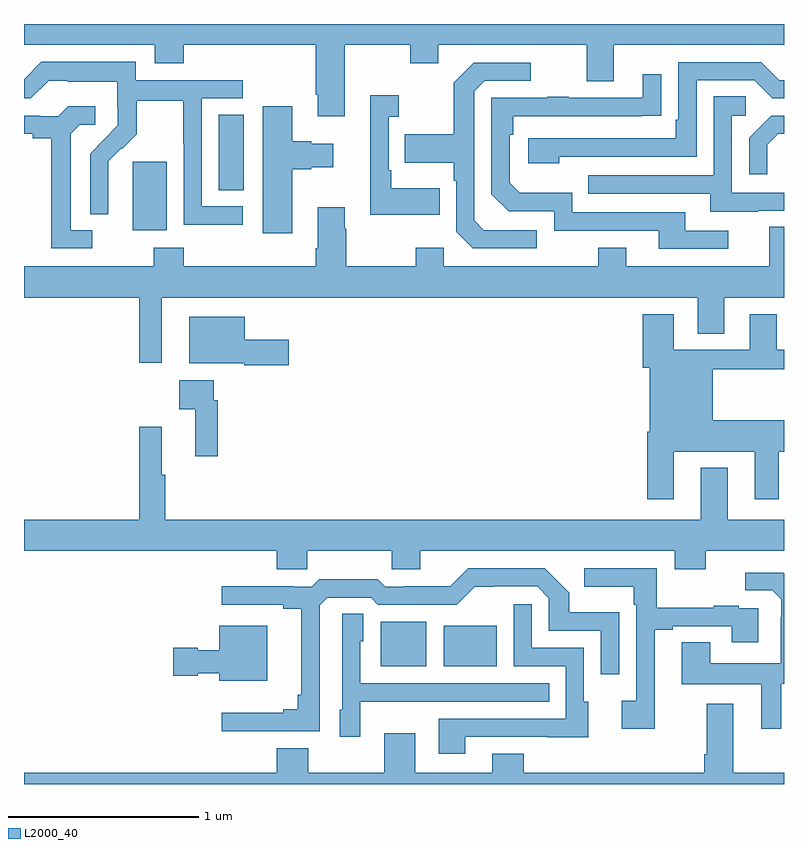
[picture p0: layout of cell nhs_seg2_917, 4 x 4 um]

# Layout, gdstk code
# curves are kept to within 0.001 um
import gdstk
lib = gdstk.Library(unit=1e-6, precision=1e-09)
def R(c, l, rs):  # rectangles x0, y0, x1, y1
    for r in rs: c.add(gdstk.rectangle(r[:2], r[2:], *l))
def P(c, l, *ps):  # polygons
    for p in ps: c.add(gdstk.Polygon(p, *l))
L2000_40 = (2000, 40)

nhs_seg2_917 = lib.new_cell('nhs_seg2_917')
R(nhs_seg2_917, L2000_40, [(160.877,588.419,161.116,588.655), (161.21,588.419,161.488,588.634), (159.572,590.714,159.751,591.075), (160.025,590.926,160.156,591.323)])
P(nhs_seg2_917, L2000_40, [(160.687,591.692),(161.032,591.692),(161.032,591.593),(161.179,591.593),(161.179,591.692),(161.963,591.692),(161.963,591.498),(162.103,591.498),(162.103,591.692),(163,591.692),(163,591.8),(159,591.8),(159,591.692),(159.689,591.692),(159.689,591.593),(159.842,591.593),(159.842,591.692),(160.535,591.692),(160.535,591.427),(160.547,591.427),(160.547,591.315),(160.687,591.315)],
  [(160.15,590.841),(159.936,590.841),(159.936,591.408),(160.15,591.408),(160.15,591.504),(159.588,591.504),(159.588,591.601),(159.091,591.601),(159,591.51),(159,591.408),(159.036,591.408),(159.129,591.501),(159.229,591.501),(159.229,591.497),(159.492,591.497),(159.492,591.363),(159.494,591.363),(159.494,591.266),(159.348,591.118),(159.348,590.8),(159.444,590.8),(159.443,591.077),(159.513,591.147),(159.516,591.144),(159.593,591.221),(159.593,591.396),(159.838,591.396),(159.838,591.172),(159.84,591.172),(159.84,590.743),(160.15,590.743)],
  [(161.816,591.102),(162.54,591.102),(162.54,591.504),(162.843,591.504),(162.939,591.408),(163,591.408),(163,591.504),(162.975,591.504),(162.879,591.6),(162.444,591.6),(162.444,591.295),(162.431,591.295),(162.431,591.198),(161.655,591.198),(161.655,591.068),(161.816,591.068)],
  [(161.698,590.715),(161.421,590.715),(161.37,590.766),(161.37,591.447),(161.424,591.501),(161.668,591.501),(161.668,591.597),(161.367,591.597),(161.262,591.491),(161.262,591.219),(161.005,591.219),(161.005,591.071),(161.262,591.071),(161.262,590.975),(161.274,590.975),(161.274,590.706),(161.361,590.619),(161.698,590.619)],
  [(162.706,590.712),(162.481,590.712),(162.481,590.808),(161.886,590.808),(161.886,590.911),(161.609,590.911),(161.556,590.964),(161.556,591.218),(161.576,591.218),(161.576,591.315),(162.353,591.316),(162.353,591.535),(162.257,591.535),(162.257,591.411),(161.867,591.411),(161.867,591.416),(161.755,591.416),(161.755,591.411),(161.46,591.411),(161.46,590.904),(161.55,590.814),(161.79,590.814),(161.79,590.712),(162.341,590.712),(162.341,590.616),(162.706,590.616)],
  [(161.189,590.935),(160.933,590.935),(160.933,591.031),(160.92,591.031),(160.92,591.311),(160.972,591.311),(160.972,591.424),(160.823,591.424),(160.823,590.795),(161.189,590.795)],
  [(162.865,590.817),(163,590.817),(163,590.913),(162.726,590.913),(162.726,591.318),(162.799,591.318),(162.799,591.419),(162.63,591.419),(162.63,591.003),(161.971,591.003),(161.971,590.907),(162.611,590.907),(162.611,590.813),(162.865,590.813)],
  [(159.358,590.715),(159.247,590.715),(159.247,591.223),(159.294,591.27),(159.376,591.27),(159.376,591.367),(159.232,591.367),(159.18,591.315),(159.086,591.315),(159.086,591.318),(159,591.318),(159,591.222),(159.047,591.222),(159.047,591.2),(159.143,591.2),(159.143,590.619),(159.358,590.619)],
  [(160.411,591.035),(160.511,591.035),(160.511,591.047),(160.627,591.047),(160.627,591.169),(160.511,591.169),(160.511,591.182),(160.411,591.182),(160.411,591.367),(160.256,591.367),(160.256,590.7),(160.411,590.7)],
  [(162.913,591.165),(162.97,591.222),(163,591.222),(163,591.318),(162.932,591.318),(162.816,591.202),(162.816,591.009),(162.913,591.009)],
  [(162.169,590.623),(162.022,590.623),(162.022,590.524),(161.208,590.524),(161.208,590.623),(161.062,590.623),(161.062,590.524),(160.695,590.524),(160.695,590.723),(160.687,590.723),(160.687,590.836),(160.547,590.836),(160.547,590.62),(160.535,590.62),(160.535,590.524),(159.842,590.524),(159.842,590.623),(159.682,590.623),(159.682,590.524),(159,590.524),(159,590.36),(159.607,590.36),(159.607,590.016),(159.724,590.016),(159.724,590.36),(162.545,590.36),(162.545,590.17),(162.685,590.17),(162.685,590.36),(163,590.36),(163,590.732),(162.923,590.732),(162.923,590.524),(162.169,590.524)],
  [(162.421,589.55),(162.845,589.55),(162.845,589.299),(162.973,589.299),(162.973,589.55),(163,589.55),(163,589.714),(162.625,589.714),(162.625,589.984),(163,589.984),(163,590.085),(162.961,590.085),(162.961,590.272),(162.821,590.272),(162.821,590.085),(162.421,590.085),(162.421,590.272),(162.257,590.272),(162.257,589.992),(162.293,589.992),(162.293,589.654),(162.281,589.654),(162.281,589.299),(162.421,589.299)],
  [(160.393,590.137),(160.162,590.137),(160.162,590.26),(159.869,590.26),(159.869,590.015),(160.158,590.015),(160.158,590.003),(160.393,590.003)],
  [(160.019,589.82),(159.999,589.82),(159.999,589.924),(159.816,589.924),(159.816,589.772),(159.902,589.772),(159.902,589.524),(160.019,589.524)],
  [(162.589,589.028),(163,589.028),(163,589.192),(162.703,589.192),(162.703,589.465),(162.563,589.465),(162.563,589.192),(159.743,589.192),(159.743,589.428),(159.725,589.428),(159.725,589.681),(159.607,589.681),(159.607,589.192),(159,589.192),(159,589.028),(160.331,589.028),(160.331,588.93),(160.491,588.93),(160.491,589.028),(160.936,589.028),(160.936,588.93),(161.086,588.93),(161.086,589.028),(162.425,589.028),(162.425,588.929),(162.589,588.929)],
  [(162.319,588.612),(162.415,588.612),(162.415,588.63),(162.725,588.63),(162.725,588.546),(162.865,588.546),(162.865,588.726),(162.761,588.726),(162.761,588.739),(162.629,588.739),(162.629,588.728),(162.331,588.728),(162.331,588.936),(161.949,588.936),(161.949,588.839),(162.21,588.839),(162.21,588.743),(162.222,588.743),(162.222,588.238),(162.147,588.238),(162.147,588.09),(162.319,588.09)],
  [(160.557,588.741),(160.596,588.78),(160.827,588.78),(160.863,588.744),(161.277,588.744),(161.372,588.839),(161.7,588.84),(161.763,588.777),(161.763,588.606),(162.036,588.606),(162.036,588.378),(162.132,588.378),(162.132,588.703),(161.871,588.703),(161.871,588.806),(161.74,588.936),(161.337,588.936),(161.243,588.842),(161.002,588.842),(161.002,588.837),(160.902,588.837),(160.863,588.877),(160.555,588.877),(160.515,588.837),(160.421,588.837),(160.421,588.842),(160.041,588.842),(160.041,588.744),(160.364,588.744),(160.364,588.722),(160.46,588.722),(160.46,588.271),(160.441,588.271),(160.441,588.194),(160.364,588.194),(160.364,588.175),(160.041,588.175),(160.041,588.078),(160.557,588.078)],
  [(162.985,588.328),(163,588.328),(163,588.908),(162.995,588.913),(162.795,588.913),(162.795,588.819),(162.939,588.819),(162.986,588.772),(162.986,588.677),(162.984,588.677),(162.984,588.436),(162.613,588.436),(162.613,588.545),(162.461,588.545),(162.461,588.326),(162.881,588.326),(162.881,588.09),(162.985,588.09)],
  [(161.323,588.048),(161.753,588.048),(161.753,588.047),(161.971,588.047),(161.971,588.234),(161.946,588.234),(161.946,588.516),(161.673,588.516),(161.673,588.745),(161.577,588.745),(161.577,588.42),(161.85,588.42),(161.85,588.144),(161.183,588.144),(161.183,587.958),(161.323,587.958)],
  [(160.77,588.233),(161.087,588.233),(161.087,588.234),(161.765,588.234),(161.765,588.33),(160.77,588.33),(160.77,588.552),(160.786,588.552),(160.786,588.695),(160.674,588.695),(160.674,588.192),(160.661,588.192),(160.661,588.048),(160.77,588.048)],
  [(160.279,588.634),(160.028,588.634),(160.028,588.505),(159.915,588.505),(159.915,588.518),(159.786,588.518),(159.786,588.371),(159.915,588.371),(159.915,588.383),(160.028,588.383),(160.028,588.344),(160.279,588.344)],
  [(163,587.86),(162.733,587.86),(162.733,588.223),(162.593,588.223),(162.593,587.956),(162.581,587.956),(162.581,587.86),(161.629,587.86),(161.629,587.959),(161.465,587.959),(161.465,587.86),(161.059,587.86),(161.059,588.067),(160.895,588.067),(160.895,587.86),(160.495,587.86),(160.495,587.989),(160.331,587.989),(160.331,587.86),(159,587.86),(159,587.8),(163,587.8)])

lib.write_gds('nhs_seg2_917.gds')
